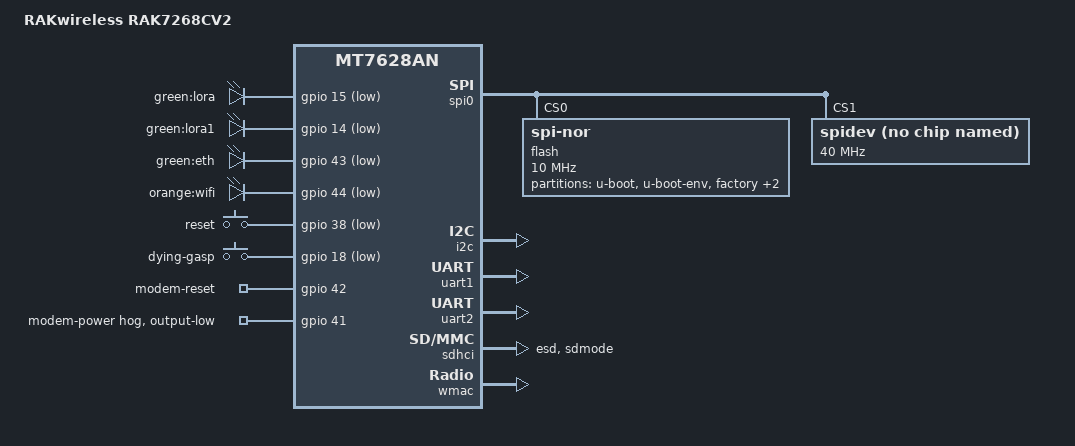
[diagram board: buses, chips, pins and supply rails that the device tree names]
// SPDX-License-Identifier: GPL-2.0-or-later OR MIT

#include "mt7628an.dtsi"

#include <dt-bindings/gpio/gpio.h>
#include <dt-bindings/input/input.h>

/ {
	compatible = "rakwireless,rak7268cv2", "rakwireless,rak636", "mediatek,mt7628an-soc";
	model = "RAKwireless RAK7268CV2";

	aliases {
		led-boot = &led_eth;
		led-failsafe = &led_eth;
		led-upgrade = &led_eth;
		label-mac-device = &ethernet;
	};

	leds {
		compatible = "gpio-leds";

		lora {
			label = "green:lora";
			gpios = <&gpio 15 GPIO_ACTIVE_LOW>;
		};

		lora1 {
			label = "green:lora1";
			gpios = <&gpio 14 GPIO_ACTIVE_LOW>;
		};

		led_eth: eth {
			label = "green:eth";
			gpios = <&gpio 43 GPIO_ACTIVE_LOW>;
		};

		wifi {
			label = "orange:wifi";
			gpios = <&gpio 44 GPIO_ACTIVE_LOW>;
		};
	};

	keys {
		compatible = "gpio-keys";

		reset {
			label = "reset";
			gpios = <&gpio 38 GPIO_ACTIVE_LOW>;
			linux,code = <KEY_RESTART>;
		};

		/*
		 * Asserted when input power drops. BTN_7, as the stock firmware has
		 * it: KEY_POWER would run /etc/rc.button/power, and a brownout
		 * would power the gateway off for good.
		 */
		dying-gasp {
			label = "dying-gasp";
			gpios = <&gpio 18 GPIO_ACTIVE_LOW>;
			linux,code = <BTN_7>;
		};
	};

	gpio-export {
		compatible = "gpio-export";
		#size-cells = <0>;

		/* Quectel EG95. Pulse high to reset; RAK's firmware does 1s. */
		modem-reset {
			gpio-export,name = "modem-reset";
			gpio-export,output = <0>;
			gpios = <&gpio 42 GPIO_ACTIVE_HIGH>;
		};

		/*
		 * No export for the SX1302 reset (GPIO 11): userspace pulses it
		 * with gpioset, which an exported line would refuse as busy.
		 */
	};
};

&gpio {
	/* Low powers the EG95. Nothing should ever turn it off. */
	modem-power {
		gpio-hog;
		gpios = <41 GPIO_ACTIVE_HIGH>;
		output-low;
		line-name = "modem-power";
	};
};

&state_default {
	gpio {
		groups = "gpio", "i2s", "spis", "wdt", "wled_an",
			 "p0led_an", "p1led_an", "p2led_an", "p3led_an", "p4led_an";
		function = "gpio";
	};
};

&spi0 {
	status = "okay";

	pinctrl-names = "default";
	pinctrl-0 = <&spi_pins>, <&spi_cs1_pins>;

	flash@0 {
		compatible = "jedec,spi-nor";
		reg = <0>;
		spi-max-frequency = <10000000>;

		partitions {
			compatible = "fixed-partitions";
			#address-cells = <1>;
			#size-cells = <1>;

			partition@0 {
				label = "u-boot";
				reg = <0x0 0x30000>;
				read-only;
			};

			partition@30000 {
				label = "u-boot-env";
				reg = <0x30000 0x10000>;
			};

			partition@40000 {
				label = "factory";
				reg = <0x40000 0xe000>;
				read-only;

				nvmem-layout {
					compatible = "fixed-layout";
					#address-cells = <1>;
					#size-cells = <1>;

					eeprom_factory_0: eeprom@0 {
						reg = <0x0 0x400>;
					};

					macaddr_factory_28: macaddr@28 {
						reg = <0x28 0x6>;
					};

					macaddr_factory_2e: macaddr@2e {
						reg = <0x2e 0x6>;
					};
				};
			};

			/* RAK's per-unit identity. Kept intact for a return to stock. */
			partition@4e000 {
				label = "pst-data";
				reg = <0x4e000 0x2000>;
				read-only;
			};

			partition@50000 {
				compatible = "denx,uimage";
				label = "firmware";
				reg = <0x50000 0x1fb0000>;
			};
		};
	};

	/* SX1302 LoRa concentrator. */
	spidev@1 {
		compatible = "linux,spidev";
		reg = <1>;
		spi-max-frequency = <40000000>;
	};
};

&i2c {
	status = "okay";
};

&uart1 {
	status = "okay";
};

&uart2 {
	status = "okay";
};

&gdma {
	status = "okay";
};

&ethernet {
	nvmem-cells = <&macaddr_factory_28>;
	nvmem-cell-names = "mac-address";
};

/*
 * The SD slot is on the ethernet PHY's P1-P4 pads, which is why the board has
 * one port. The stock kernel claims pins 22-29 for it with I2C still live.
 */
&pinctrl {
	ephy-digital;

	sdxc_iot_mode: sdxc_iot_mode {
		esd {
			groups = "esd";
			function = "iot";
		};

		sdxc {
			groups = "sdmode";
			function = "sdxc";
		};
	};
};

&sdhci {
	status = "okay";

	pinctrl-0 = <&sdxc_iot_mode>;
	pinctrl-1 = <&sdxc_iot_mode>;
};

&wmac {
	status = "okay";

	nvmem-cells = <&eeprom_factory_0>, <&macaddr_factory_2e>;
	nvmem-cell-names = "eeprom", "mac-address";
};
